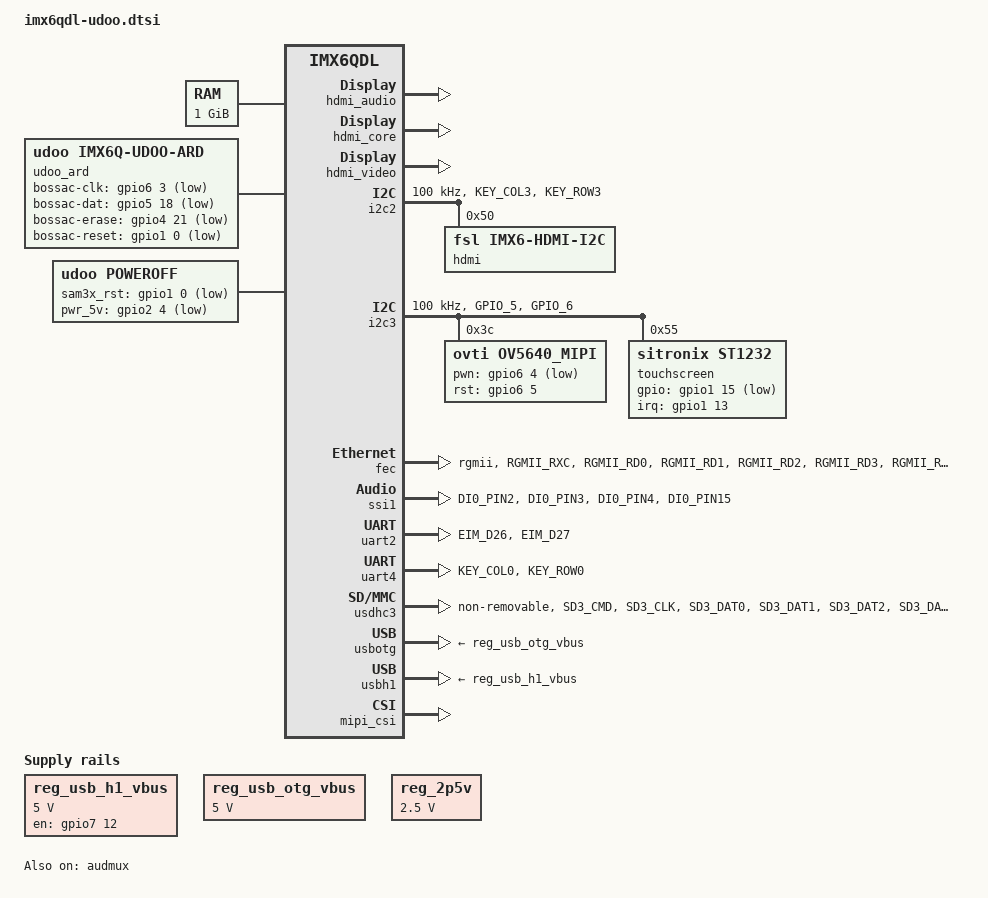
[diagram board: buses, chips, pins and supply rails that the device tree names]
/*
 * Copyright 2013 Freescale Semiconductor, Inc.
 * Copyright (C) 2014 Jasbir
 * Copyright 2015 Aidilab, Srl.
 *
 * Author: Fabio Estevam <fabio.estevam@freescale.com>
 * Author: Ettore Chimenti <ettore.chimenti@udoo.org>
 * Author: Francesco Montefoschi <francesco.monte@gmail.com> 
 *
 * This program is free software; you can redistribute it and/or modify
 * it under the terms of the GNU General Public License version 2 as
 * published by the Free Software Foundation.
 *
 */

/ {
	aliases {
		mxcfb0 = &mxcfb1;
// 		reg_can_xcvr = &reg_can_xcvr;
		mmc0 = &usdhc3;
		mmc1 = &usdhc2;
		mmc2 = &usdhc1;
		mmc3 = &usdhc4;
	};
	
	memory {
		reg = <0x10000000 0x40000000>;
	};
	
	regulators {
		compatible = "simple-bus";
		#address-cells = <1>;
		#size-cells = <0>;
		
		reg_usb_h1_vbus: regulator@0 {
			compatible = "regulator-fixed";
			reg = <0>;
			regulator-name = "usb_h1_vbus";
			regulator-min-microvolt = <5000000>;
			regulator-max-microvolt = <5000000>;
			enable-active-high;
			startup-delay-us = <2>; /* USB2415 requires a POR of 1 us minimum */
			gpio = <&gpio7 12 0>;
		};
		
		reg_lcd0_pwr: regulator@1 {
			compatible = "regulator-fixed", "udoo,lvds-power";
			regulator-name = "LCD0 POWER";
			regulator-min-microvolt = <3300000>;
			regulator-max-microvolt = <3300000>;
			gpio = <&gpio1 2 0>;
			enable-active-high;
			regulator-boot-on;
			regulator-always-on;
			status = "disabled";
		};
		
// 		reg_can_xcvr: regulator@3 {
// 			compatible = "regulator-fixed";
// 			reg = <3>;
// 			regulator-name = "CAN XCVR";
// 			regulator-min-microvolt = <3300000>;
// 			regulator-max-microvolt = <3300000>;
// 			regulator-always-on;
// 			enable-active-low;
// 		};
		
		reg_usb_otg_vbus: regulator@4 {
			compatible = "regulator-fixed";
			reg = <4>;
			regulator-name = "usb_otg_vbus";
			regulator-min-microvolt = <5000000>;
			regulator-max-microvolt = <5000000>;
			enable-active-high;
		};
		
		reg_2p5v: regulator@5 {
			compatible = "regulator-fixed";
			reg = <5>;
			regulator-name = "2P5V";
			regulator-min-microvolt = <2500000>;
			regulator-max-microvolt = <2500000>;
			regulator-always-on;
		};
	};
	
	codec: vt1613 {
		compatible = "via,vt1613";
	};

	backlight_lcd {// enable, disable lvds
		compatible = "gpio-backlight", "udoo,lvds-backlight";
		gpios = <&gpio1 4 GPIO_ACTIVE_HIGH>;
		default-on;
		status = "disabled";
	};
	
	sound {
		compatible = "udoo,imx-vt1613-audio";
		ssi-controller = <&ssi1>; 
		audio-codec = <&codec>;
		mux-int-port = <1>; 
		mux-ext-port = <6>; 
	};
	
	sound-hdmi {
		compatible = "fsl,imx6q-audio-hdmi",
		"fsl,imx-audio-hdmi";
		model = "imx-audio-hdmi";
		hdmi-controller = <&hdmi_audio>;
	};
	
	
// 	sound-spdif {
// 		compatible = 	"fsl,imx-audio-spdif",
// 				"fsl,imx-sabreauto-spdif";
// 		model = "imx-spdif";
// 		spdif-controller = <&spdif>;
// 		spdif-in;
// 		status = "disabled";
// 	};

	v4l2_cap_0 {
		compatible = "fsl,imx6q-v4l2-capture";
		ipu_id = <0>;
		csi_id = <0>;
		mclk_source = <0>;
		status = "okay";
	};

	v4l2_cap_1 {
		compatible = "fsl,imx6q-v4l2-capture";
		ipu_id = <0>;
		csi_id = <1>;
		mclk_source = <0>;
		status = "okay";
	};               

	v4l2_out {
		compatible = "fsl,mxc_v4l2_output";
		status = "okay";
	};

	udoo_ard: udoo_ard_manager {
		compatible = "udoo,imx6q-udoo-ard";
		pinctrl-names = "default";
		pinctrl-0 = <&pinctrl_udoo_ard_alt>;
		bossac-clk-gpio   = <&gpio6 3 GPIO_ACTIVE_LOW>;
		bossac-dat-gpio   = <&gpio5 18 GPIO_ACTIVE_LOW>;
		bossac-erase-gpio = <&gpio4 21 GPIO_ACTIVE_LOW>;
		bossac-reset-gpio = <&gpio1 0 GPIO_ACTIVE_LOW>;
		status = "okay";
	};

	poweroff {
		compatible = "udoo,poweroff";
		sam3x_rst_gpio = <&gpio1 0 GPIO_ACTIVE_LOW>;
		pwr_5v_gpio = <&gpio2 4 GPIO_ACTIVE_LOW>;
		arduino_mode = <0>; // 0=running, 1=halted, 2=running after shutdown
	};
};

&audmux { 
	status = "okay";
};


&gpc { // General power controller
	/* use ldo-bypass, u-boot will check it and configure */
	fsl,ldo-bypass = <1>;
};

&hdmi_audio {
	status = "okay";
};

&hdmi_core {
	ipu_id = <0>;
	disp_id = <0>;
	status = "okay";
};

&hdmi_video {
	fsl,phy_reg_vlev = <0x0294>;
	fsl,phy_reg_cksymtx = <0x800d>;
	status = "okay";
};

&ldb { // LVDS display bridge
	status = "disabled";
	primary;
	lvds-channel@0 {
		reg = <0>;
		fsl,data-mapping = "spwg";
		status = "disabled";
		primary;
		crtc = "ipu1-di0";
	};
};

&i2c2 { // internal (hdmi)
	clock-frequency = <100000>;
	pinctrl-names = "default";
	pinctrl-0 = <&pinctrl_i2c2>;
	status = "okay";
	
	hdmi: edid@50 {
		compatible = "fsl,imx6-hdmi-i2c";
		reg = <0x50>;
	};
};

&i2c3 { // CSI camera (CN11) and LVDS 7 inches touch panel (CN13)
	clock-frequency = <100000>;
	pinctrl-names = "default";
	pinctrl-0 = <&pinctrl_i2c3>;
	status = "okay";
	ov5640_mipi: ov5640_mipi@3c {
		compatible = "ovti,ov5640_mipi";
		reg = <0x3c>;
		clocks = <&clks IMX6QDL_CLK_CKO>;
		clock-names = "csi_mclk";
		pwn-gpios = <&gpio6 4 GPIO_ACTIVE_LOW>;
		rst-gpios = <&gpio6 5 GPIO_ACTIVE_HIGH>;
		csi_id = <0>;
		mclk = <24000000>;
		mclk_source = <0>;
	};
	touchscreen: st1232@55 {
		compatible = "sitronix,st1232";
		reg = <0x55>;
		interrupt-parent = <&gpio1>;
		interrupts = <13 IRQ_TYPE_LEVEL_LOW>;
		pinctrl-0 = <&pinctrl_st1232>;
		pinctrl-names = "default";
		gpios = <&gpio1 15 GPIO_ACTIVE_LOW>;
	};
};

&fec { //ethernet
	pinctrl-names = "default";
	pinctrl-0 = <&pinctrl_enet>;
	phy-mode = "rgmii";
	phy-reset-gpios = <&gpio3 23 0>;
	phy-reset-duration = <50>;
	status = "okay";
};

&iomuxc {
	pinctrl-names = "default";
	pinctrl-0 = <&pinctrl_hog &external_hog>;
	
	imx6q-udoo {
		pinctrl_hog: hoggrp {
			fsl,pins = <
			// Internal GPIOs
			MX6QDL_PAD_NANDF_D4__GPIO2_IO04			0x80000000  // 5v enable
			MX6QDL_PAD_NANDF_CS0__GPIO6_IO11		0x80000000  // Vtt enable

			MX6QDL_PAD_DISP0_DAT5__GPIO4_IO26		0x80000000  // Debug UART (J18)
			
			MX6QDL_PAD_GPIO_17__GPIO7_IO12			0x80000000  // USB hub reset
			MX6QDL_PAD_NANDF_CS2__CCM_CLKO2			0x130b0     // USB hub clock
			MX6QDL_PAD_EIM_WAIT__GPIO5_IO00			0xb0b1      // USB OTG select
			
			MX6QDL_PAD_NANDF_D5__GPIO2_IO05			0x80000000  // SD card power
			MX6QDL_PAD_SD3_DAT5__GPIO7_IO00			0x80000000  // SD card detect
			
			MX6QDL_PAD_GPIO_16__GPIO7_IO11			0xb0b1      // SAM3X OTG vbus_en
			MX6QDL_PAD_SD4_DAT7__GPIO2_IO15			0x80000000  // SAM3X usb host
			MX6QDL_PAD_GPIO_3__GPIO1_IO03			0x30b1      // Arduino pinout pin 12
			
			MX6QDL_PAD_GPIO_2__GPIO1_IO02			0x80000000  // LVDS panel on (CN13)
			MX6QDL_PAD_GPIO_4__GPIO1_IO04			0x80000000  // LVDS backlight on (CN13)
			
			MX6QDL_PAD_CSI0_DAT18__GPIO6_IO04		0x1f071 	// CSI camera enable (CN11)
			MX6QDL_PAD_CSI0_DAT19__GPIO6_IO05		0x1f071 	// CSI camera reset (CN11)
			MX6QDL_PAD_CSI0_MCLK__CCM_CLKO1			0x130b0		// CSI master clock (CN11)
			
			>;
		};
		
		pinctrl_enet: enetgrp {
			fsl,pins = <
			MX6QDL_PAD_RGMII_RXC__RGMII_RXC			0x1b0b0
			MX6QDL_PAD_RGMII_RD0__RGMII_RD0			0x1b0b0
			MX6QDL_PAD_RGMII_RD1__RGMII_RD1			0x1b0b0
			MX6QDL_PAD_RGMII_RD2__RGMII_RD2			0x1b0b0
			MX6QDL_PAD_RGMII_RD3__RGMII_RD3			0x1b0b0
			MX6QDL_PAD_RGMII_RX_CTL__RGMII_RX_CTL		0x1b0b0
			MX6QDL_PAD_RGMII_TXC__RGMII_TXC			0x1b0b0
			MX6QDL_PAD_RGMII_TD0__RGMII_TD0			0x1b0b0
			MX6QDL_PAD_RGMII_TD1__RGMII_TD1			0x1b0b0
			MX6QDL_PAD_RGMII_TD2__RGMII_TD2			0x1b0b0
			MX6QDL_PAD_RGMII_TD3__RGMII_TD3			0x1b0b0
			MX6QDL_PAD_RGMII_TX_CTL__RGMII_TX_CTL		0x1b0b0
			MX6QDL_PAD_ENET_REF_CLK__ENET_TX_CLK		0x1b0b0
			MX6QDL_PAD_ENET_MDIO__ENET_MDIO			0x1b0b0
			MX6QDL_PAD_ENET_MDC__ENET_MDC			0x1b0b0
			MX6QDL_PAD_EIM_D23__GPIO3_IO23			0x80000000 /* RGMII_nRST */
			MX6QDL_PAD_EIM_EB3__GPIO2_IO31			0x80000000  /* EN_ETH_PWR */
			>;
		};
		
		pinctrl_i2c1: i2c1grp {
			fsl,pins = <
			MX6QDL_PAD_EIM_D21__I2C1_SCL		0x4001b8b1
			MX6QDL_PAD_EIM_D28__I2C1_SDA		0x4001b8b1
			>;
		};
		
		pinctrl_i2c2: i2c2grp {
			fsl,pins = <
			MX6QDL_PAD_KEY_COL3__I2C2_SCL		0x4001b8b1
			MX6QDL_PAD_KEY_ROW3__I2C2_SDA		0x4001b8b1
			>;
		};
		
		pinctrl_i2c3: i2c3grp {
			fsl,pins = <
			MX6QDL_PAD_GPIO_5__I2C3_SCL		0x4001b8b1
			MX6QDL_PAD_GPIO_6__I2C3_SDA		0x4001b8b1
			>;
		};
		
		pinctrl_st1232: st1232grp {
			fsl,pins = <
			MX6QDL_PAD_SD2_DAT0__GPIO1_IO15			0x80000000  // Touch panel reset
			MX6QDL_PAD_SD2_DAT2__GPIO1_IO13			0x80000000  // Touch panel interrupt
			>;
		};
		
		pinctrl_uart2: uart2grp {
			fsl,pins = <
			MX6QDL_PAD_EIM_D26__UART2_TX_DATA	0x1b0b1
			MX6QDL_PAD_EIM_D27__UART2_RX_DATA	0x1b0b1
			>;
		};
		
		pinctrl_uart4: uart4grp {
			fsl,pins = <
			MX6QDL_PAD_KEY_COL0__UART4_TX_DATA 	0x1b0b1 // or 0x100b1
			MX6QDL_PAD_KEY_ROW0__UART4_RX_DATA 	0x1b0b1 // or 0x100b1
			>;
		};
		
		pinctrl_udoo_ard_alt: udooard2grp {
			fsl,pins = <
			MX6QDL_PAD_DISP0_DAT0__GPIO4_IO21       0x80000000
			MX6QDL_PAD_CSI0_DAT17__GPIO6_IO03       0x80000000
			MX6QDL_PAD_CSI0_PIXCLK__GPIO5_IO18      0x80000000
			MX6QDL_PAD_GPIO_0__GPIO1_IO00           0x80000000
			>;
		};
		
// 		pinctrl_flexcan1: can1grp {
// 			fsl,pins = <
// 				MX6QDL_PAD_GPIO_7__FLEXCAN1_TX 0x1b0b1
// 				MX6QDL_PAD_GPIO_8__FLEXCAN1_RX 0x1b0b1
// 			>;
// 		};
		
		pinctrl_usdhc3: usdhc3grp {
			fsl,pins = <
			MX6QDL_PAD_SD3_CMD__SD3_CMD		0x17059
			MX6QDL_PAD_SD3_CLK__SD3_CLK		0x10059
			MX6QDL_PAD_SD3_DAT0__SD3_DATA0		0x17059
			MX6QDL_PAD_SD3_DAT1__SD3_DATA1		0x17059
			MX6QDL_PAD_SD3_DAT2__SD3_DATA2		0x17059
			MX6QDL_PAD_SD3_DAT3__SD3_DATA3		0x17059
			>;
		};
		
		pinctrl_spdif_1: spdifgrp-1 {
			fsl,pins = <
			MX6QDL_PAD_KEY_COL3__SPDIF_IN 	0x1b0b0
			>;
		};
		
		ac97link_running: ac97link_runninggrp {
			fsl,pins = <
			MX6QDL_PAD_DI0_PIN2__AUD6_TXD   0x80000000
			MX6QDL_PAD_DI0_PIN3__AUD6_TXFS  0x80000000
			MX6QDL_PAD_DI0_PIN4__AUD6_RXD   0x80000000
			MX6QDL_PAD_DI0_PIN15__AUD6_TXC  0x80000000
			>;
		};
		
		ac97link_reset: ac97link_resetgrp {
			fsl,pins = <
			MX6QDL_PAD_EIM_EB2__GPIO2_IO30   0x80000000
			MX6QDL_PAD_DI0_PIN3__GPIO4_IO19  0x80000000
			MX6QDL_PAD_DI0_PIN2__GPIO4_IO18  0x80000000
			>;
		};
 	
 		ac97link_warm_reset: ac97link_warm_resetgrp {
			fsl,pins = <
			MX6QDL_PAD_DI0_PIN3__GPIO4_IO19  0x80000000
			>;
		};

	};
};

&ssi1 {
	fsl,mode = "ac97-slave";
	pinctrl-names = "default", "ac97-running", "ac97-reset", "ac97-warm-reset";
	pinctrl-0 = <&ac97link_running>;
	pinctrl-1 = <&ac97link_running>;
	pinctrl-2 = <&ac97link_reset>;
	pinctrl-3 = <&ac97link_warm_reset>;
	/* sync, sdata (output), reset */
	ac97-gpios = <&gpio4 19 0 &gpio4 18 0 &gpio2 30 0>;	
	status = "okay";
}; 

&uart2 { // iMX6 serial debug port - ttymxc1, available on micro USB CN6 (jumper J18 plugged)
	pinctrl-names = "default";
	pinctrl-0 = <&pinctrl_uart2>;
	status = "okay";
};

&uart4 { // iMX6-Arduino internal serial port - ttymxc3
	pinctrl-names = "default";
	pinctrl-0 = <&pinctrl_uart4>;
	status = "okay";
};

&usdhc3 {
	pinctrl-names = "default";
	pinctrl-0 = <&pinctrl_usdhc3>;
	non-removable;
	keep-power-in-suspend;
	no-1-8-v;
	enable-sdio-wakeup;
	status = "okay";
};

&usbotg {
	pinctrl-names = "default";
	vbus-supply = <&reg_usb_otg_vbus>;
	status = "okay";
};

&usbh1 {
	vbus-supply = <&reg_usb_h1_vbus>;
	clocks = <&clks 201>;
	clock-names = "phy";
	status = "okay";
};

&mipi_csi {
   status = "okay";
   ipu_id = <0>;
   csi_id = <0>;
   v_channel = <0>;
   lanes = <2>;
};

// &spdif {
//    pinctrl-names = "default";
//    pinctrl-0 = <&pinctrl_spdif_1>;
//    status = "disabled";
// };

#include "imx6qdl-udoo-externalpins.dtsi"
